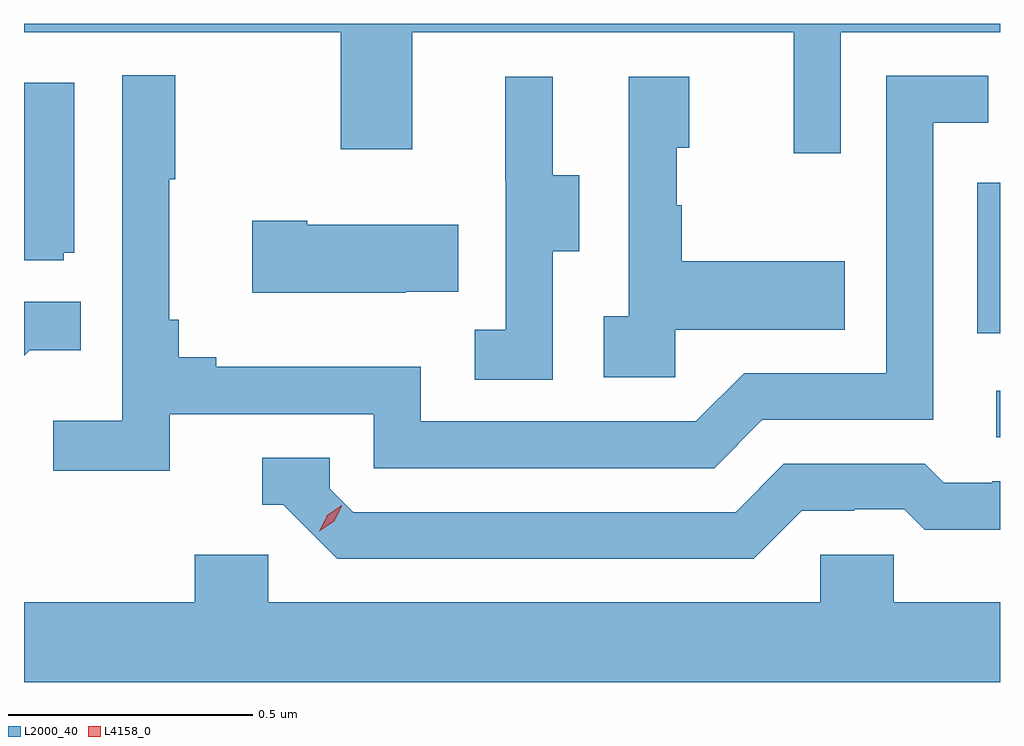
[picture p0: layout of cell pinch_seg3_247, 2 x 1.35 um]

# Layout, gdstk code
import gdstk
lib = gdstk.Library(unit=1e-6, precision=1e-09)
def R(c, l, rs):  # rectangles x0, y0, x1, y1
    for r in rs: c.add(gdstk.rectangle(r[:2], r[2:], *l))
def P(c, l, *ps):  # polygons
    for p in ps: c.add(gdstk.Polygon(p, *l))
L2000_40 = (2000, 40)
L4158_0 = (4158, 0)

pinch_seg3_247 = lib.new_cell('pinch_seg3_247')
R(pinch_seg3_247, L2000_40, [(914.643,730.722,914.651,730.818), (914.604,730.935,914.651,731.244)])
P(pinch_seg3_247, L2000_40, [(914.325,731.552),(914.651,731.552),(914.651,731.57),(912.651,731.57),(912.651,731.552),(913.3,731.552),(913.3,731.313),(913.447,731.313),(913.447,731.552),(914.228,731.552),(914.228,731.304),(914.325,731.304)],
  [(912.95,730.77),(913.368,730.77),(913.368,730.659),(914.065,730.659),(914.164,730.758),(914.514,730.758),(914.514,731.367),(914.627,731.367),(914.627,731.463),(914.418,731.463),(914.418,730.854),(914.127,730.854),(914.028,730.755),(913.464,730.755),(913.464,730.867),(913.045,730.867),(913.045,730.886),(912.968,730.886),(912.968,730.963),(912.949,730.963),(912.949,731.251),(912.961,731.251),(912.961,731.464),(912.852,731.464),(912.852,730.756),(912.711,730.756),(912.711,730.654),(912.95,730.654)],
  [(913.986,730.943),(914.333,730.943),(914.333,731.083),(913.999,731.083),(913.999,731.198),(913.989,731.198),(913.989,731.316),(914.014,731.316),(914.014,731.461),(913.89,731.461),(913.89,730.97),(913.839,730.97),(913.839,730.845),(913.986,730.845)],
  [(913.734,731.104),(913.789,731.104),(913.789,731.259),(913.735,731.259),(913.735,731.461),(913.637,731.461),(913.637,731.247),(913.638,731.247),(913.638,730.943),(913.575,730.943),(913.575,730.84),(913.734,730.84)],
  [(912.732,731.1),(912.754,731.1),(912.754,731.449),(912.651,731.449),(912.651,731.085),(912.732,731.085)],
  [(913.433,731.021),(913.541,731.021),(913.541,731.158),(913.231,731.158),(913.231,731.166),(913.119,731.166),(913.119,731.018),(913.433,731.018)],
  [(912.663,730.901),(912.767,730.901),(912.767,731),(912.651,731),(912.651,730.889)],
  [(914.245,730.572),(914.352,730.572),(914.352,730.575),(914.455,730.575),(914.497,730.533),(914.651,730.533),(914.651,730.632),(914.635,730.632),(914.635,730.629),(914.536,730.629),(914.497,730.668),(914.208,730.668),(914.109,730.569),(913.326,730.569),(913.278,730.617),(913.278,730.68),(913.139,730.68),(913.139,730.584),(913.182,730.584),(913.293,730.473),(914.146,730.473)],
  [(914.651,730.384),(914.433,730.384),(914.433,730.482),(914.283,730.482),(914.283,730.384),(913.152,730.384),(913.152,730.482),(913.001,730.482),(913.001,730.384),(912.651,730.384),(912.651,730.22),(914.651,730.22)])
P(pinch_seg3_247, L4158_0, [(913.256,730.53),(913.256,730.53),(913.272,730.563),(913.302,730.583),(913.302,730.583),(913.302,730.582),(913.287,730.55),(913.256,730.53)])

lib.write_gds('pinch_seg3_247.gds')
